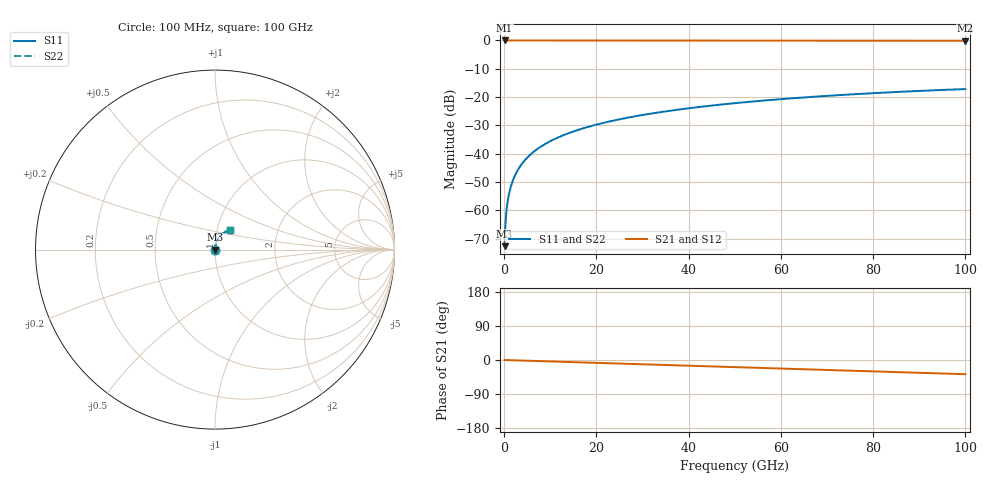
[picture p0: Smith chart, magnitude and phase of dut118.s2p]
! Touchstone file exported from HFSS 2026.1.0
!  File:  C:/ffzhzh/LocalFiles/Ansys_Project_Files/temp_train_TSV_118_1783506047_55944.aedt
!  Generated:  06:22:04 PM Jul  8, 2026
!  Design:  TSV
!  Project:  temp_train_TSV_118_1783506047_55944
! Variables:
!  h_bsmrdl = 2um
!  h_ox = 20um
!  h_rdl = 5um
!  h_sub = 69.08um
!  h_tmrdl = 5um
!  h_tsv = 69.08um
!  h_via = 3um
!  l_bsmrdl = 300um
!  l_sub = 419.24um
!  l_tmrdl = 200um
!  m_sub = 200um
!  pitch = 52.06um
!  r_tsv = 9.62um
!  s_tmrdl = 10um
!  w_bsmrdl = 18um
!  w_sub = 500um
!  w_tmrdl = 12um
!  x_tsv_center1 = 206um
!  x_tsv_center2 = 524um
!  x_tsv_center3 = 736um
!  x_tsv_center4 = 1054um
!  x_tsv_center5 = 1266um
!  x_tsv_center6 = 1584um
# GHz S MA R 50.000000
! Terminal data exported
! Port[1] = TSV1_1_T1
! Port[2] = TSV1_1_T2
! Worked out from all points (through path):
!   1000 points, 100 MHz to 100 GHz, reference 50 ohm
!   highest |S21| = 0.00 dB at 100 MHz (marker M1); lowest = -0.1 dB at 100 GHz (marker M2)
!   group delay of S21, straight-line fit = 1.04 ps
!   lowest |S11| = -72.7 dB at 100 MHz (marker M3), VSWR 1.00, Z = 50 + j0.02 ohm
!   |S11| at or under -10 dB: start of sweep to end of sweep
!   |S22| runs from -72.7 to -17.2 dB; largest |S21 - S12| = 5e-15
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0.1  0.0002324 59.3  0.9999 -0.0  0.9999 -0.0  0.0002324 59.3
! Gamma 0 0 0 0
! Port Impedance 50 0 50 0
0.3  0.0006062 76.1  0.9999 -0.1  0.9999 -0.1  0.0006062 76.1
0.7  0.001329 80.5  0.9998 -0.3  0.9998 -0.3  0.001329 80.5
0.8  0.001503 81.0  0.9998 -0.3  0.9998 -0.3  0.001503 81.0
1  0.001847 81.7  0.9997 -0.4  0.9997 -0.4  0.001847 81.7
1.3  0.00236 82.5  0.9997 -0.5  0.9997 -0.5  0.00236 82.5
1.7  0.003038 83.2  0.9997 -0.7  0.9997 -0.7  0.003038 83.2
2.3  0.004047 83.7  0.9996 -0.9  0.9996 -0.9  0.004047 83.7
3  0.005212 84.0  0.9995 -1.2  0.9995 -1.2  0.005212 84.0
3.8  0.006533 84.2  0.9995 -1.5  0.9995 -1.5  0.006533 84.2
4.8  0.008174 84.3  0.9994 -1.8  0.9994 -1.8  0.008174 84.3
6  0.01013 84.2  0.9993 -2.3  0.9993 -2.3  0.01013 84.2
8.8  0.01469 83.7  0.9991 -3.3  0.9991 -3.3  0.01469 83.7
12.4  0.02049 82.8  0.9989 -4.7  0.9989 -4.7  0.02049 82.8
16.8  0.02752 81.4  0.9986 -6.4  0.9986 -6.4  0.02752 81.4
24.2  0.0392 79.0  0.998 -9.2  0.998 -9.2  0.0392 79.0
33.4  0.05343 75.8  0.9971 -12.6  0.9971 -12.6  0.05343 75.8
41.2  0.06517 73.0  0.9962 -15.5  0.9962 -15.5  0.06517 73.0
50.1  0.07813 69.8  0.9951 -18.9  0.9951 -18.9  0.07813 69.8
66.7  0.1008 63.8  0.9928 -25.1  0.9928 -25.1  0.1008 63.8
83.4  0.1212 57.7  0.9903 -31.3  0.9903 -31.3  0.1212 57.7
100  0.1384 51.6  0.9877 -37.5  0.9877 -37.5  0.1384 51.6
